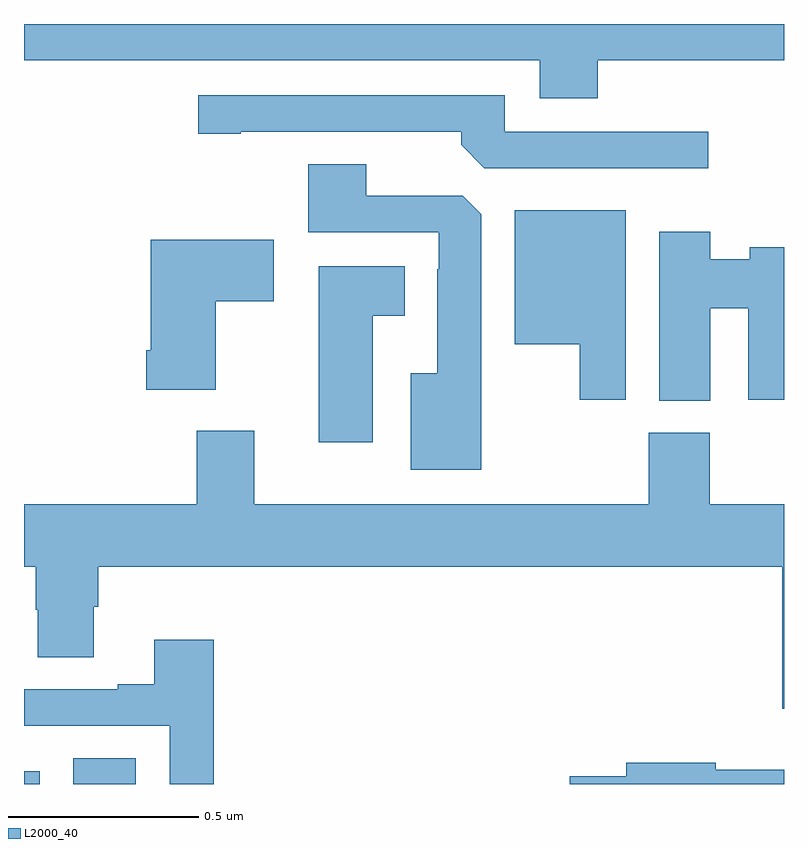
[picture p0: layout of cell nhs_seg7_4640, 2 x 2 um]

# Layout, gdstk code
import gdstk
lib = gdstk.Library(unit=1e-6, precision=1e-09)
def R(c, l, rs):  # rectangles x0, y0, x1, y1
    for r in rs: c.add(gdstk.rectangle(r[:2], r[2:], *l))
def P(c, l, *ps):  # polygons
    for p in ps: c.add(gdstk.Polygon(p, *l))
L2000_40 = (2000, 40)

nhs_seg7_4640 = lib.new_cell('nhs_seg7_4640')
R(nhs_seg7_4640, L2000_40, [(175,1044,175.042,1044.034), (175.13,1044,175.294,1044.068)])
P(nhs_seg7_4640, L2000_40, [(176.51,1045.904),(177,1045.904),(177,1046),(175,1046),(175,1045.904),(176.357,1045.904),(176.357,1045.805),(176.51,1045.805)],
  [(176.8,1045.716),(176.265,1045.716),(176.265,1045.812),(175.458,1045.812),(175.458,1045.711),(175.57,1045.711),(175.57,1045.716),(176.15,1045.716),(176.15,1045.682),(176.211,1045.62),(176.8,1045.62)],
  [(176.203,1045.499),(176.154,1045.548),(175.9,1045.548),(175.9,1045.631),(175.748,1045.631),(175.748,1045.452),(176.091,1045.452),(176.091,1045.355),(176.087,1045.355),(176.087,1045.081),(176.018,1045.081),(176.018,1044.827),(176.203,1044.827)],
  [(176.584,1045.51),(176.291,1045.51),(176.291,1045.157),(176.462,1045.157),(176.462,1045.011),(176.584,1045.011)],
  [(176.806,1045.252),(176.906,1045.252),(176.906,1045.011),(177,1045.011),(177,1045.412),(176.91,1045.412),(176.91,1045.381),(176.806,1045.381),(176.806,1045.453),(176.672,1045.453),(176.672,1045.009),(176.806,1045.009)],
  [(175.504,1045.27),(175.657,1045.27),(175.657,1045.432),(175.334,1045.432),(175.334,1045.141),(175.322,1045.141),(175.322,1045.037),(175.504,1045.037)],
  [(175.918,1045.232),(176.002,1045.232),(176.002,1045.363),(175.775,1045.363),(175.775,1044.9),(175.918,1044.9)],
  [(177,1044.736),(176.804,1044.736),(176.804,1044.924),(176.644,1044.924),(176.644,1044.736),(175.606,1044.736),(175.606,1044.93),(175.454,1044.93),(175.454,1044.736),(175,1044.736),(175,1044.572),(175.031,1044.572),(175.031,1044.459),(175.036,1044.459),(175.036,1044.334),(175.183,1044.334),(175.183,1044.466),(175.196,1044.466),(175.196,1044.572),(176.996,1044.572),(176.996,1044.198),(177,1044.198)],
  [(175.499,1044.379),(175.343,1044.379),(175.343,1044.262),(175.247,1044.262),(175.247,1044.249),(175,1044.249),(175,1044.153),(175.383,1044.153),(175.383,1044),(175.499,1044)],
  [(177,1044.037),(176.82,1044.037),(176.82,1044.056),(176.585,1044.056),(176.585,1044.02),(176.436,1044.02),(176.436,1044),(177,1044)])

lib.write_gds('nhs_seg7_4640.gds')
